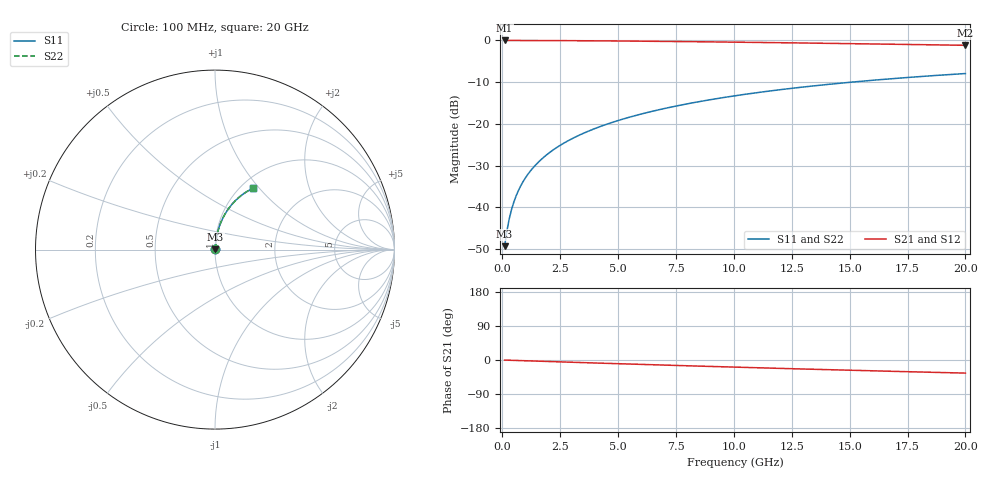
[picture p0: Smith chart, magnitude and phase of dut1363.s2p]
! Touchstone file exported from HFSS 2024.1.0
!  File:  C:/UserFiles/LocalFiles/RDL_TSV_Batchsim/temp_RDL_bottom_1363_1780370778.aedt
!  Generated:  11:29:03 AM Jun  2, 2026
!  Design:  RDL_bottom
!  Project:  temp_RDL_bottom_1363_1780370778
!  Setup:  Setup1
!  Solution:  Sweep
! Variables:
!  dtsv = 10.80580581um
!  hbump = 3um
!  htsv = 82.22um
!  ldown = 429.63um
!  lrdl = 100um
!  p = 40
!  p1 = 52.23um
!  rhole = 1um
!  t = 450um
!  tdown = 4.64um
!  trdl = 3.915915916um
!  wdown = 13.27um
!  wrdl = 20um
# GHz S MA R 50.000000
! Terminal data exported
! Port[1] = RDL1_T1
! Port[2] = RDL1_T2
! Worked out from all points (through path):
!   200 points, 100 MHz to 20 GHz, reference 50 ohm
!   highest |S21| = -0.02 dB at 100 MHz (marker M1); lowest = -1.2 dB at 20 GHz (marker M2)
!   group delay of S21, straight-line fit = 4.79 ps
!   lowest |S11| = -49.3 dB at 100 MHz (marker M3), VSWR 1.01, Z = 50.3 + j0.229 ohm
!   |S11| at or under -10 dB: start of sweep to 15.09 GHz
!   |S22| runs from -49.3 to -7.9 dB; largest |S21 - S12| = 4e-15
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0.1  0.00343 41.7  0.9974 -0.2  0.9974 -0.2  0.00343 41.7
! Gamma 0 0 0 0
! Port Impedance 50 0 50 0
0.2  0.005227 60.6  0.9974 -0.4  0.9974 -0.4  0.005227 60.6
0.3  0.007285 69.2  0.9973 -0.6  0.9973 -0.6  0.007286 69.2
0.4  0.009427 73.8  0.9972 -0.8  0.9972 -0.8  0.009428 73.8
0.5  0.0116 76.6  0.9971 -1.0  0.9971 -1.0  0.0116 76.6
0.6  0.01379 78.5  0.997 -1.2  0.997 -1.2  0.01379 78.5
0.8  0.01819 80.6  0.9967 -1.6  0.9967 -1.6  0.01819 80.6
1.1  0.02478 82.1  0.9963 -2.2  0.9963 -2.2  0.02478 82.1
1.5  0.03355 82.9  0.9957 -3.0  0.9957 -3.0  0.03355 82.9
1.8  0.0401 83.1  0.9951 -3.6  0.9951 -3.6  0.0401 83.1
2.1  0.04664 83.1  0.9944 -4.2  0.9944 -4.2  0.04664 83.1
2.7  0.05969 82.9  0.9927 -5.4  0.9927 -5.4  0.05969 82.9
3.5  0.07707 82.3  0.9899 -6.9  0.9899 -6.9  0.07707 82.3
4.2  0.09227 81.6  0.987 -8.3  0.987 -8.3  0.09227 81.6
5  0.1096 80.6  0.9832 -9.8  0.9832 -9.8  0.1096 80.6
5.9  0.129 79.5  0.9785 -11.5  0.9785 -11.5  0.129 79.5
6.8  0.1484 78.2  0.9734 -13.1  0.9734 -13.1  0.1484 78.2
8.3  0.1804 76.1  0.964 -15.8  0.964 -15.8  0.1804 76.1
10.1  0.218 73.4  0.9517 -18.9  0.9517 -18.9  0.218 73.4
13.4  0.2841 68.3  0.9269 -24.5  0.9269 -24.5  0.2841 68.3
16.7  0.3453 63.2  0.9002 -29.7  0.9002 -29.7  0.3453 63.3
20  0.4006 58.4  0.8723 -34.6  0.8723 -34.6  0.4007 58.4
